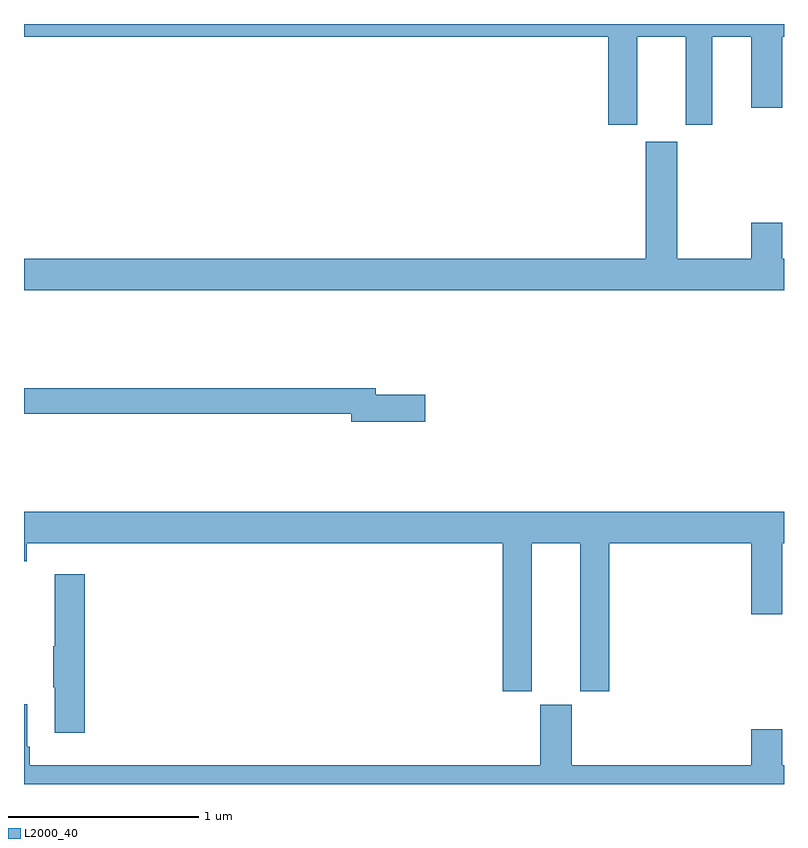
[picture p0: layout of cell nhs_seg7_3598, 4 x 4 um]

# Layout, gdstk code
import gdstk
lib = gdstk.Library(unit=1e-6, precision=1e-09)
def P(c, l, *ps):  # polygons
    for p in ps: c.add(gdstk.Polygon(p, *l))
L2000_40 = (2000, 40)

nhs_seg7_3598 = lib.new_cell('nhs_seg7_3598')
P(nhs_seg7_3598, L2000_40, [(344.227,1017.932),(344.483,1017.932),(344.483,1017.471),(344.623,1017.471),(344.623,1017.932),(344.828,1017.932),(344.828,1017.558),(344.992,1017.558),(344.992,1017.932),(345,1017.932),(345,1018),(341,1018),(341,1017.932),(344.075,1017.932),(344.075,1017.471),(344.227,1017.471)],
  [(345,1016.764),(344.992,1016.764),(344.992,1016.953),(344.828,1016.953),(344.828,1016.764),(344.437,1016.764),(344.437,1017.379),(344.273,1017.379),(344.273,1016.764),(341,1016.764),(341,1016.6),(345,1016.6)],
  [(343.111,1016.048),(342.85,1016.048),(342.85,1016.084),(341,1016.084),(341,1015.948),(342.722,1015.948),(342.722,1015.906),(343.111,1015.906)],
  [(343.672,1015.268),(343.928,1015.268),(343.928,1014.489),(344.081,1014.489),(344.081,1015.268),(344.828,1015.268),(344.828,1014.894),(344.992,1014.894),(344.992,1015.268),(345,1015.268),(345,1015.432),(341,1015.432),(341,1015.172),(341.015,1015.172),(341.015,1015.268),(343.52,1015.268),(343.52,1014.489),(343.672,1014.489)],
  [(341.321,1015.105),(341.162,1015.105),(341.162,1014.725),(341.155,1014.725),(341.155,1014.508),(341.162,1014.508),(341.162,1014.27),(341.321,1014.27)],
  [(345,1014.1),(344.992,1014.1),(344.992,1014.289),(344.828,1014.289),(344.828,1014.1),(343.882,1014.1),(343.882,1014.417),(343.718,1014.417),(343.718,1014.1),(341.03,1014.1),(341.03,1014.196),(341.017,1014.196),(341.017,1014.421),(341,1014.421),(341,1014),(345,1014)])

lib.write_gds('nhs_seg7_3598.gds')
